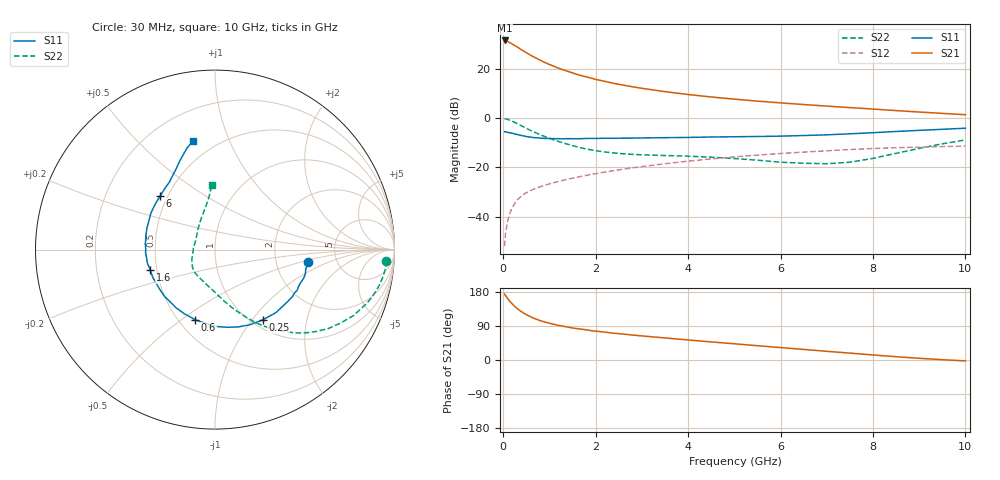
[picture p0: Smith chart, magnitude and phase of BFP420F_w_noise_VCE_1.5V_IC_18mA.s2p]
! Infineon Technologies  Discrete & RF Semiconductors
! BFP420F
! VCE =  1.5 V,  IC =  18 mA
! Common Emitter S-Parameters:  Sep 2011
# GHz  S  MA  R  50
!  f  S11  S21  S12  S22
! GHz  MAG  ANG  MAG  ANG  MAG  ANG  MAG  ANG
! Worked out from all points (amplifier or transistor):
!   54 points, 30 MHz to 10 GHz, reference 50 ohm
!   highest |S21| = 31.4 dB at 30 MHz (marker M1)
!   |S21| within 3 dB of that: start of sweep to 330.8 MHz
!   unconditionally stable (mu >= 1): 1.652 GHz to end of sweep
!   at 120 MHz: K = 0.24, MSG = 35.5 dB, |S12| = -40.1 dB
!   at 1.3 GHz: K = 0.90, MSG = 22.4 dB, |S12| = -25.3 dB
!   at 10 GHz: K = 1.24, MAG = 3.4 dB, |S12| = -11.4 dB
!   lowest NFmin = 1.47 dB at 900 MHz
!   S11 on the Smith chart (normalised r, x): 30 MHz: 3.09, -0.57; 250 MHz: 1.12, -1.13; 600 MHz: 0.60, -0.56; 1.6 GHz: 0.46, -0.12; 6 GHz: 0.46, +0.33; 10 GHz: 0.38, +0.75
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0.03  0.524 -7.3  37.35 173.9  0.0025 90.8  0.9562 -3.8
0.05  0.5171 -12.0  36.76 169.9  0.0046 87.8  0.9546 -6.7
0.07  0.5199 -17.3  36.54 166.9  0.0058 84.7  0.9463 -9.6
0.12  0.5038 -29.0  34.77 158.2  0.0099 79.8  0.9168 -16.1
0.2  0.4885 -45.9  31.42 147.5  0.0155 74.1  0.8552 -25.4
0.25  0.4731 -55.9  29.36 141.4  0.0184 71.4  0.8108 -30.3
0.3  0.4617 -65.1  27.59 136.0  0.0215 68.7  0.7701 -34.8
0.4  0.4383 -80.9  24.01 127.0  0.0263 65.0  0.6886 -42.3
0.5  0.4197 -94.3  21.06 119.7  0.0304 62.4  0.6161 -48.3
0.6  0.406 -105.9  18.55 113.5  0.0338 60.6  0.5533 -53.4
0.8  0.3901 -123.9  14.83 103.9  0.0401 59.0  0.4571 -61.6
1  0.3832 -136.9  12.16 97.0  0.0459 58.5  0.3854 -68.2
1.2  0.3779 -147.4  10.19 91.2  0.0515 58.2  0.3324 -74.3
1.6  0.3789 -162.3  7.624 82.7  0.0627 58.0  0.2595 -85.4
1.7  0.3797 -165.3  7.191 81.2  0.0655 58.0  0.2454 -88.1
2.4  0.386 179.1  5.008 70.6  0.0856 56.7  0.1946 -106.7
3.5  0.3976 162.4  3.414 58.2  0.1178 52.9  0.1725 -127.4
5.5  0.4203 141.0  2.196 37.7  0.176 41.6  0.1388 -157.9
6  0.4273 135.5  2.021 32.8  0.1898 38.4  0.1264 -169.2
7  0.4542 123.9  1.739 22.9  0.2155 31.8  0.1176 160.5
8.5  0.5312 111.7  1.411 8.7  0.2485 20.8  0.1913 113.6
10  0.6188 101.4  1.164 -2.4  0.2691 11.7  0.358 92.8
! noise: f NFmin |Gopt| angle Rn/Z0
0.45  1.49  0.14  179  0.11
0.9  1.47  0.15  176  0.13
1.9  1.6  0.24  -172  0.18
2.4  1.67  0.25  -168  0.12
3.5  1.9  0.27  -159  0.16
